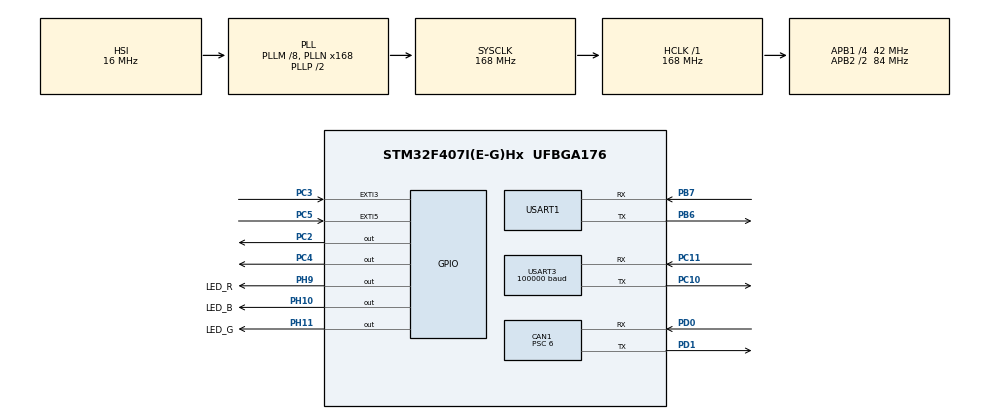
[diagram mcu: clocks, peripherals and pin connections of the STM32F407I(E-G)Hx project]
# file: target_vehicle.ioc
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CAN1.BS1=CAN_BS1_3TQ
CAN1.BS2=CAN_BS2_3TQ
CAN1.CalculateBaudRate=1000000
CAN1.CalculateTimeBit=1000
CAN1.CalculateTimeQuantum=142.85714285714286
CAN1.Prescaler=6
Dma.Request0=USART3_RX
Dma.Request1=USART1_RX
Dma.USART1_RX.1.Direction=DMA_PERIPH_TO_MEMORY
Dma.USART1_RX.1.FIFOMode=DMA_FIFOMODE_DISABLE
Dma.USART1_RX.1.Instance=DMA2_Stream2
Dma.USART1_RX.1.MemDataAlignment=DMA_MDATAALIGN_BYTE
Dma.USART1_RX.1.MemInc=DMA_MINC_ENABLE
Dma.USART1_RX.1.Mode=DMA_NORMAL
Dma.USART1_RX.1.PeriphDataAlignment=DMA_PDATAALIGN_BYTE
Dma.USART1_RX.1.PeriphInc=DMA_PINC_DISABLE
Dma.USART1_RX.1.Priority=DMA_PRIORITY_LOW
Dma.USART3_RX.0.Direction=DMA_PERIPH_TO_MEMORY
Dma.USART3_RX.0.FIFOMode=DMA_FIFOMODE_DISABLE
Dma.USART3_RX.0.Instance=DMA1_Stream1
Dma.USART3_RX.0.MemDataAlignment=DMA_MDATAALIGN_BYTE
Dma.USART3_RX.0.MemInc=DMA_MINC_ENABLE
Dma.USART3_RX.0.Mode=DMA_NORMAL
Dma.USART3_RX.0.PeriphDataAlignment=DMA_PDATAALIGN_BYTE
Dma.USART3_RX.0.PeriphInc=DMA_PINC_DISABLE
Dma.USART3_RX.0.Priority=DMA_PRIORITY_LOW
Mcu.Family=STM32F4
Mcu.Name=STM32F407I(E-G)Hx
Mcu.Package=UFBGA176
NVIC.CAN1_RX0_IRQn=true\:14\:0\:true\:false\:true\:true\:true\:true
NVIC.CAN1_RX1_IRQn=true\:14\:0\:true\:false\:true\:true\:true\:true
NVIC.DMA1_Stream1_IRQn=true\:0\:0\:false\:false\:true\:false\:true\:true
NVIC.DMA2_Stream2_IRQn=true\:0\:0\:false\:false\:true\:false\:true\:true
NVIC.EXTI3_IRQn=true\:0\:0\:false\:false\:true\:true\:true\:true
NVIC.EXTI9_5_IRQn=true\:0\:0\:false\:false\:true\:true\:true\:true
NVIC.PriorityGroup=NVIC_PRIORITYGROUP_4
NVIC.USART1_IRQn=true\:0\:0\:false\:false\:true\:true\:true\:true
NVIC.USART3_IRQn=true\:0\:0\:false\:false\:true\:true\:true\:true
PB6.Mode=Asynchronous
PB6.Signal=USART1_TX
PB7.Mode=Asynchronous
PB7.Signal=USART1_RX
PC10.Mode=Asynchronous
PC10.Signal=USART3_TX
PC11.Mode=Asynchronous
PC11.Signal=USART3_RX
PC2.GPIO_PuPd=GPIO_PULLUP
PC2.Signal=GPIO_Output
PC3.GPIO_ModeDefaultEXTI=GPIO_MODE_IT_RISING
PC3.Signal=GPXTI3
PC4.GPIO_ModeDefaultOutputPP=GPIO_MODE_OUTPUT_PP
PC4.GPIO_PuPd=GPIO_PULLUP
PC4.Signal=GPIO_Output
PC5.GPIO_ModeDefaultEXTI=GPIO_MODE_IT_RISING
PC5.Signal=GPXTI5
PD0.Mode=CAN_Activate
PD0.Signal=CAN1_RX
PD1.Mode=CAN_Activate
PD1.Signal=CAN1_TX
PH0-OSC_IN.Mode=HSE-External-Oscillator
PH0-OSC_IN.Signal=RCC_OSC_IN
PH1-OSC_OUT.Mode=HSE-External-Oscillator
PH1-OSC_OUT.Signal=RCC_OSC_OUT
PH10.GPIO_Label=LED_B
PH10.Signal=GPIO_Output
PH11.GPIO_Label=LED_G
PH11.Signal=GPIO_Output
PH9.GPIO_Label=LED_R
PH9.Signal=GPIO_Output
ProjectManager.HeapSize=0x200
ProjectManager.StackSize=0x400
ProjectManager.TargetToolchain=MDK-ARM V5.32
RCC.48MHZClocksFreq_Value=84000000
RCC.AHBFreq_Value=168000000
RCC.APB1CLKDivider=RCC_HCLK_DIV4
RCC.APB1Freq_Value=42000000
RCC.APB1TimFreq_Value=84000000
RCC.APB2CLKDivider=RCC_HCLK_DIV2
RCC.APB2Freq_Value=84000000
RCC.APB2TimFreq_Value=168000000
RCC.CortexFreq_Value=168000000
RCC.HCLKFreq_Value=168000000
RCC.HSE_VALUE=12000000
RCC.HSI_VALUE=16000000
RCC.LSE_VALUE=32768
RCC.PLLM=8
RCC.PLLN=168
RCC.SYSCLKFreq_VALUE=168000000
RCC.SYSCLKSource=RCC_SYSCLKSOURCE_PLLCLK
RCC.VCOOutputFreq_Value=336000000
USART1.VirtualMode=VM_ASYNC
USART3.BaudRate=100000
USART3.VirtualMode=VM_ASYNC
USART3.WordLength=WORDLENGTH_9B
board=custom

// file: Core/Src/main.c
/* USER CODE BEGIN Header */
/**
  ******************************************************************************
  * @file           : main.c
  * @brief          : Main program body
  ******************************************************************************
  * @attention
  *
  * Copyright (c) 2024 STMicroelectronics.
  * All rights reserved.
  *
  * This software is licensed under terms that can be found in the LICENSE file
  * in the root directory of this software component.
  * If no LICENSE file comes with this software, it is provided AS-IS.
  *
  ******************************************************************************
  */
/* USER CODE END Header */
#include "main.h"
#include "can.h"
#include "dma.h"
#include "usart.h"
#include "gpio.h"

/* USER CODE BEGIN Includes */
#include "rc.h"
#include "motol_pid.h"
#include "drv_can.h"
#include "decode_can.h"
#include "Rand_Num.h"
/* USER CODE END Includes */

/* USER CODE BEGIN PD */
pid_type_def gimbal = {0};
pid_type_def HubMotor_A = {0};
pid_type_def HubMotor_B = {0};
pid_type_def HubMotor_C = {0};
float PID_gimbal[3] = { 0.6f, 0.1f, 0.1f };
float PID_HubMotor[3] = { 0.6f, 0.1f, 0.1f };
/* USER CODE END PD */

void SystemClock_Config(void);

int main(void)
{

  /* MCU Configuration--------------------------------------------------------*/

  /* Reset of all peripherals, Initializes the Flash interface and the Systick. */
  HAL_Init();

  /* Configure the system clock */
  SystemClock_Config();

  /* Initialize all configured peripherals */
  MX_GPIO_Init();
  MX_DMA_Init();
  MX_CAN1_Init();
  MX_USART3_UART_Init();
  MX_USART1_UART_Init();
  /* USER CODE BEGIN 2 */
  rc_Init();
  CAN_Init(&hcan1);
	HAL_CAN_ActivateNotification(&hcan1,CAN_IT_RX_FIFO0_MSG_PENDING);      // 使能中断
  PID_init(&gimbal, PID_DELTA, PID_gimbal, 15000, 1000);                 // 最大输出与最大积分输出
  PID_init(&HubMotor_A, PID_DELTA, PID_HubMotor, 15000, 1000);           // 计算最大速度差不多4m/s就ok
	PID_init(&HubMotor_B, PID_DELTA, PID_HubMotor, 15000, 1000);
	PID_init(&HubMotor_C, PID_DELTA, PID_HubMotor, 15000, 1000);
  gimbal.set = 500;         // 初始速度
	HubMotor_A.set = 1500;
	HubMotor_B.set = 1500;
	HubMotor_C.set = 1500;
	RandRPM = 0;               // 随机模式轮电机初始速度
  /* USER CODE END 2 */

  /* Infinite loop */
  /* USER CODE BEGIN WHILE */
  while (1)
  {
//		switch ( RC_Ctl.rc.s2 )        // 遥控器控制
//		{
//			case 1:                      // 模式一，匀速+遥控器控制速度快慢
//        gimbal.fdb = motor1.RPM;
//        HubMotor_A.fdb = motor2.RPM;
//    		HubMotor_B.fdb = motor3.RPM;
//    		HubMotor_C.fdb = motor4.RPM;
//			  gimbal.set = MODE1_ChangeRPM(gimbal.set, MotorTarget.gimbal_ChangeRPM);
//			  HubMotor_A.set = MODE1_ChangeRPM(HubMotor_A.set, MotorTarget.HubMotor_A_ChangeRPM);
//			  HubMotor_B.set = MODE1_ChangeRPM(HubMotor_B.set, MotorTarget.HubMotor_B_ChangeRPM);
//			  HubMotor_C.set = MODE1_ChangeRPM(HubMotor_C.set, MotorTarget.HubMotor_C_ChangeRPM);
//        PID_calc(&gimbal,gimbal.fdb,gimbal.set);
//        PID_calc(&HubMotor_A, HubMotor_A.fdb, HubMotor_A.set);
//        PID_calc(&HubMotor_B, HubMotor_B.fdb, HubMotor_B.set);
//        PID_calc(&HubMotor_C, HubMotor_C.fdb, HubMotor_C.set);
//    		CAN_SendData_3508(gimbal.out, HubMotor_A.out, HubMotor_B.out, HubMotor_C.out);
//		    HAL_Delay(2);
//		  	break;
//
//			case 2:                      // 随机数模式(云台定速，轮电机随机转速)
//				RandRPM = abs_ChangeNum_value(RandRPM);
//			  CAN_SendData_3508(RandRPM,0,0,0);
//		   	HAL_Delay(2);
//				break;
//
//			case 3:                      // 停止运行
//				CAN_SendData_3508(0, 0, 0, 0);
//		    HAL_Delay(2);
//				break;
//
//			default:
//			break;
//		};

		// 硬件板控制
		// 速度控制
		gimbal.fdb = motor1.RPM;
    HubMotor_A.fdb = motor2.RPM;
	  gimbal.set = In_Change.gimbal_set;            // 输入的值，初始速度为0
		HubMotor_A.set = In_Change.HubMotor_set;      // 输入的值，初始速度为0
    PID_calc(&gimbal,gimbal.fdb,gimbal.set);
    PID_calc(&HubMotor_A, HubMotor_A.fdb, HubMotor_A.set);
 		CAN_SendData_3508(gimbal.out, HubMotor_A.out, 0, 0);

		if(flag_distence_init == 1)       // 初始化定位，然后开启定距离移动
		{
			while(flag_find_begin == 1)     // 直到找到滑轨的一端
			{
				CAN_SendData_3508(gimbal.out,500,0,0); // 直到到达一边
				HAL_Delay(2);
			}

			motor2.total_distance = 0;
			while(flag_find_HF == 1)                    // 直到找到滑轨的一端
			{
				CAN_SendData_3508(gimbal.out,500,0,0);             // 一直运动直到到达中间
				if( motor2.total_distance > HF_track_length + In_Change.HF_distance)
				{
					flag_find_HF = 0;
				};
				HAL_Delay(2);
			}
			flag_distence_init = 0;
			HubMotor_A.out = -abs(HubMotor_A.out);
			CAN_SendData_3508(gimbal.out,HubMotor_A.out,0,0); //开始反方向走
		}

		if(motor2.total_distance < HF_track_length - In_Change.HF_distance)
		{
			HubMotor_A.out = chang_sign(HubMotor_A.out);
		}
		if(motor2.total_distance < HF_track_length + In_Change.HF_distance)
		{
			HubMotor_A.out = chang_sign(HubMotor_A.out);
		}

		HAL_Delay(2);
    /* USER CODE END WHILE */

  }
}

void SystemClock_Config(void)
{
  RCC_OscInitTypeDef RCC_OscInitStruct = {0};
  RCC_ClkInitTypeDef RCC_ClkInitStruct = {0};

  /** Configure the main internal regulator output voltage
  */
  __HAL_RCC_PWR_CLK_ENABLE();
  __HAL_PWR_VOLTAGESCALING_CONFIG(PWR_REGULATOR_VOLTAGE_SCALE1);

  /** Initializes the RCC Oscillators according to the specified parameters
  * in the RCC_OscInitTypeDef structure.
  */
  RCC_OscInitStruct.OscillatorType = RCC_OSCILLATORTYPE_HSI;
  RCC_OscInitStruct.HSIState = RCC_HSI_ON;
  RCC_OscInitStruct.HSICalibrationValue = RCC_HSICALIBRATION_DEFAULT;
  RCC_OscInitStruct.PLL.PLLState = RCC_PLL_ON;
  RCC_OscInitStruct.PLL.PLLSource = RCC_PLLSOURCE_HSI;
  RCC_OscInitStruct.PLL.PLLM = 8;
  RCC_OscInitStruct.PLL.PLLN = 168;
  RCC_OscInitStruct.PLL.PLLP = RCC_PLLP_DIV2;
  RCC_OscInitStruct.PLL.PLLQ = 4;
  if (HAL_RCC_OscConfig(&RCC_OscInitStruct) != HAL_OK)
  {
    Error_Handler();
  }

  /** Initializes the CPU, AHB and APB buses clocks
  */
  RCC_ClkInitStruct.ClockType = RCC_CLOCKTYPE_HCLK|RCC_CLOCKTYPE_SYSCLK
                              |RCC_CLOCKTYPE_PCLK1|RCC_CLOCKTYPE_PCLK2;
  RCC_ClkInitStruct.SYSCLKSource = RCC_SYSCLKSOURCE_PLLCLK;
  RCC_ClkInitStruct.AHBCLKDivider = RCC_SYSCLK_DIV1;
  RCC_ClkInitStruct.APB1CLKDivider = RCC_HCLK_DIV4;
  RCC_ClkInitStruct.APB2CLKDivider = RCC_HCLK_DIV2;

  if (HAL_RCC_ClockConfig(&RCC_ClkInitStruct, FLASH_LATENCY_5) != HAL_OK)
  {
    Error_Handler();
  }
}

/* USER CODE BEGIN 4 */
void HAL_GPIO_EXTI_Callback(uint16_t GPIO_Pin)    // 轻触开关改变电机转向
{
	switch(GPIO_Pin)
	{
		case GPIO_PIN_3:
			chang_sign(HubMotor_A.set);
		  flag_find_begin = 0;            // 标志已经到达滑轨的一端
		break;

		case GPIO_PIN_5:
			chang_sign(HubMotor_A.set);
		  flag_find_begin = 0;            // 标志已经到达滑轨的一端
		break;

		default:
		break;
	}
};
/* USER CODE END 4 */

void Error_Handler(void)
{
  __disable_irq();
  while (1)
  {
  }
}
